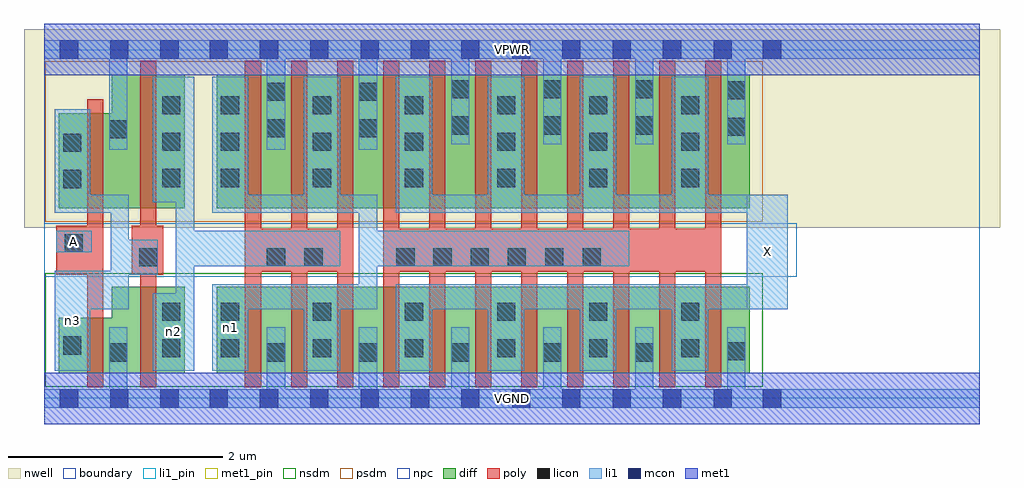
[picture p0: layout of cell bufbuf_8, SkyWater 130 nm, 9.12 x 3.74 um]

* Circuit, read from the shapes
.subckt bufbuf_8 A VGND VPWR X n1 n2 n3
XM1 VGND A n3 VSUBS sky130_fd_pr__nfet_01v8 w=0.52 l=0.15
XM2 n2 n3 VGND VSUBS sky130_fd_pr__nfet_01v8 w=0.81 l=0.15
XM3 VGND n2 n1 VSUBS sky130_fd_pr__nfet_01v8 w=0.81 l=0.15 m=3
XM4 X n1 VGND VSUBS sky130_fd_pr__nfet_01v8 w=0.81 l=0.15 m=8
XM5 VPWR A n3 n4 sky130_fd_pr__pfet_01v8 w=0.89 l=0.15
XM6 n2 n3 VPWR n4 sky130_fd_pr__pfet_01v8 w=1.25 l=0.15
XM7 VPWR n2 n1 n4 sky130_fd_pr__pfet_01v8 w=1.25 l=0.15 m=3
XM8 X n1 VPWR n4 sky130_fd_pr__pfet_01v8 w=1.25 l=0.15 m=8
.ends

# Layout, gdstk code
import gdstk
lib = gdstk.Library(unit=1e-6, precision=1e-09)
def R(c, l, rs):  # rectangles x0, y0, x1, y1
    for r in rs: c.add(gdstk.rectangle(r[:2], r[2:], *l))
def A(c, l, x, y, w, h, nx, ny, dx, dy):  # array of equal rectangles
    R(c, l, [(x+i*dx, y+j*dy, x+i*dx+w, y+j*dy+h) for i in range(nx) for j in range(ny)])
nwell = (64, 20)
diff = (65, 20)
poly = (66, 20)
licon = (66, 44)
li1_pin = (67, 16)
li1 = (67, 20)
mcon = (67, 44)
met1_pin = (68, 16)
met1 = (68, 20)
nsdm = (93, 44)
psdm = (94, 20)
npc = (95, 20)
boundary = (235, 4)

bufbuf_8 = lib.new_cell('bufbuf_8')
R(bufbuf_8, nwell, [(-0.19,1.595,8.93,3.45), (0,1.595,8.74,3.45)])
R(bufbuf_8, diff, [(0.135,0.235,1.31,0.755), (0.63,0.235,1.31,1.045), (1.61,0.235,6.59,1.045), (0.135,1.775,1.31,2.665), (0.63,1.775,1.31,3.025), (1.61,1.775,6.59,3.025)])
A(bufbuf_8, poly, 1.875, 0.105, 0.15, 3.05, 11, 1, 0.43, 0)
R(bufbuf_8, poly, [(0.4,0.105,0.55,2.795), (0.895,0.105,1.045,3.155), (0.11,1.155,0.55,1.615), (0.815,1.155,1.11,1.615), (1.875,1.185,2.885,1.585), (3.165,1.185,6.325,1.585)])
A(bufbuf_8, licon, 2.08, 0.345, 0.17, 0.17, 5, 1, 0.86, 0)
A(bufbuf_8, licon, 1.65, 0.385, 0.17, 0.17, 6, 2, 0.86, 0.34)
A(bufbuf_8, licon, 4.33, 1.235, 0.17, 0.17, 3, 1, 0.35, 0)
A(bufbuf_8, licon, 1.1, 1.975, 0.17, 0.17, 1, 3, 0, 0.34)
A(bufbuf_8, licon, 1.65, 1.975, 0.17, 0.17, 6, 3, 0.86, 0.34)
A(bufbuf_8, licon, 3.8, 2.465, 0.17, 0.17, 3, 2, 0.86, 0.34)
R(bufbuf_8, licon, [(0.605,0.345,0.775,0.515), (6.38,0.355,6.55,0.525), (1.1,0.385,1.27,0.555), (0.175,0.41,0.345,0.58), (1.1,0.725,1.27,0.895), (0.885,1.235,1.055,1.405), (2.08,1.235,2.25,1.405), (2.43,1.235,2.6,1.405), (3.29,1.235,3.46,1.405), (3.635,1.235,3.805,1.405), (3.985,1.235,4.155,1.405), (0.19,1.365,0.36,1.535), (0.175,1.965,0.345,2.135), (0.175,2.305,0.345,2.475), (0.605,2.43,0.775,2.6), (2.08,2.44,2.25,2.61), (2.94,2.44,3.11,2.61), (6.38,2.455,6.55,2.625), (2.08,2.78,2.25,2.95), (2.94,2.78,3.11,2.95), (6.38,2.795,6.55,2.965)])
R(bufbuf_8, li1_pin, [(6.565,0.835,6.945,1.905), (0.11,1.365,0.445,1.565)])
A(bufbuf_8, li1, 2.08, -0.085, 0.17, 0.75, 6, 1, 0.86, 0)
A(bufbuf_8, li1, 2.425, 0.26, 0.34, 0.805, 5, 1, 0.86, 0)
A(bufbuf_8, li1, 2.425, 1.735, 0.34, 1.27, 5, 1, 0.86, 0)
A(bufbuf_8, li1, 3.8, 2.375, 0.17, 0.97, 4, 1, 0.86, 0)
R(bufbuf_8, li1, [(0,-0.085,8.74,0.085), (0.605,-0.085,0.775,0.665), (0.095,0.26,0.43,1.195), (1.015,0.26,1.4,0.985), (1.23,0.26,1.4,3.005), (1.57,0.26,1.905,1.065), (0.095,0.835,0.79,1.195), (0.62,0.835,0.79,1.905), (1.57,0.835,3.11,1.065), (2.94,0.835,3.11,1.905), (3.285,0.835,6.945,1.065), (6.565,0.835,6.945,1.905), (0.62,1.155,1.06,1.485), (1.23,1.235,2.765,1.565), (2.94,1.235,5.465,1.565), (0.11,1.365,0.445,1.565), (0.095,1.735,0.43,2.7), (0.095,1.735,0.79,1.905), (1.57,1.735,1.905,3.005), (1.57,1.735,3.11,1.905), (3.285,1.735,6.945,1.905), (1.015,1.835,1.4,3.005), (0.605,2.325,0.775,3.345), (2.08,2.325,2.25,3.345), (2.94,2.325,3.11,3.345), (0,3.175,8.74,3.345)])
A(bufbuf_8, mcon, 0.145, -0.085, 0.17, 0.17, 3, 2, 0.47, 3.26)
A(bufbuf_8, mcon, 1.545, -0.085, 0.17, 0.17, 6, 2, 0.47, 3.26)
A(bufbuf_8, mcon, 4.37, -0.085, 0.17, 0.17, 4, 2, 0.47, 3.26)
R(bufbuf_8, mcon, [(6.255,-0.085,6.425,0.085), (6.715,-0.085,6.885,0.085), (6.255,3.175,6.425,3.345), (6.715,3.175,6.885,3.345)])
R(bufbuf_8, met1_pin, [(0,-0.24,8.74,0.24), (0,3.02,8.74,3.5)])
R(bufbuf_8, met1, [(0,-0.24,8.74,0.24), (0,3.02,8.74,3.5)])
R(bufbuf_8, nsdm, [(0.01,0.11,6.715,1.17)])
R(bufbuf_8, psdm, [(0.01,1.65,6.715,3.15)])
R(bufbuf_8, npc, [(0,1.135,7.03,1.635)])
R(bufbuf_8, boundary, [(0,0,8.74,3.26)])
bufbuf_8.add(gdstk.Label('A', (0.277,1.465), layer=67, texttype=5))
bufbuf_8.add(gdstk.Label('X', (6.755,1.37), layer=67, texttype=5))
bufbuf_8.add(gdstk.Label('n3', (0.262,0.727), layer=67, texttype=5))
bufbuf_8.add(gdstk.Label('n2', (1.207,0.622), layer=67, texttype=5))
bufbuf_8.add(gdstk.Label('n1', (1.737,0.662), layer=67, texttype=5))
bufbuf_8.add(gdstk.Label('VPWR', (4.37,3.26), layer=68, texttype=5))
bufbuf_8.add(gdstk.Label('VGND', (4.37,0), layer=68, texttype=5))
bufbuf_8.add(gdstk.Label('A', (0.277,1.465), layer=67, texttype=16))
bufbuf_8.add(gdstk.Label('X', (6.755,1.37), layer=67, texttype=16))
bufbuf_8.add(gdstk.Label('VPWR', (4.37,3.26), layer=68, texttype=16))
bufbuf_8.add(gdstk.Label('VGND', (4.37,0), layer=68, texttype=16))

lib.write_gds('bufbuf_8.gds')
